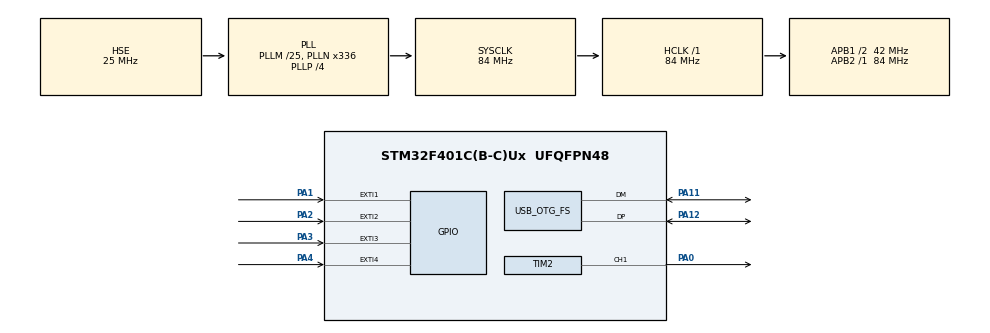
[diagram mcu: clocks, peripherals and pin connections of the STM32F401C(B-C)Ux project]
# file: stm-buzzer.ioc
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Mcu.Family=STM32F4
Mcu.Name=STM32F401C(B-C)Ux
Mcu.Package=UFQFPN48
NVIC.EXTI1_IRQn=true\:0\:0\:false\:false\:true\:true\:true\:true
NVIC.EXTI2_IRQn=true\:0\:0\:false\:false\:true\:true\:true\:true
NVIC.EXTI3_IRQn=true\:0\:0\:false\:false\:true\:true\:true\:true
NVIC.EXTI4_IRQn=true\:0\:0\:false\:false\:true\:true\:true\:true
NVIC.PriorityGroup=NVIC_PRIORITYGROUP_4
NVIC.TIM3_IRQn=true\:0\:0\:false\:false\:true\:true\:true\:true
PA0-WKUP.Signal=S_TIM2_CH1_ETR
PA1.GPIO_ModeDefaultEXTI=GPIO_MODE_IT_RISING_FALLING
PA1.GPIO_PuPd=GPIO_PULLUP
PA1.Signal=GPXTI1
PA11.Mode=Device_Only
PA11.Signal=USB_OTG_FS_DM
PA12.Mode=Device_Only
PA12.Signal=USB_OTG_FS_DP
PA2.GPIO_ModeDefaultEXTI=GPIO_MODE_IT_RISING_FALLING
PA2.GPIO_PuPd=GPIO_PULLUP
PA2.Signal=GPXTI2
PA3.GPIO_ModeDefaultEXTI=GPIO_MODE_IT_RISING_FALLING
PA3.GPIO_PuPd=GPIO_PULLUP
PA3.Signal=GPXTI3
PA4.GPIO_ModeDefaultEXTI=GPIO_MODE_IT_RISING_FALLING
PA4.GPIO_PuPd=GPIO_PULLUP
PA4.Signal=GPXTI4
PH0\ -\ OSC_IN.Mode=HSE-External-Oscillator
PH0\ -\ OSC_IN.Signal=RCC_OSC_IN
PH1\ -\ OSC_OUT.Mode=HSE-External-Oscillator
PH1\ -\ OSC_OUT.Signal=RCC_OSC_OUT
ProjectManager.HeapSize=0x200
ProjectManager.StackSize=0x400
ProjectManager.TargetToolchain=STM32CubeIDE
RCC.48MHZClocksFreq_Value=48000000
RCC.AHBFreq_Value=84000000
RCC.APB1CLKDivider=RCC_HCLK_DIV2
RCC.APB1Freq_Value=42000000
RCC.APB1TimFreq_Value=84000000
RCC.APB2Freq_Value=84000000
RCC.APB2TimFreq_Value=84000000
RCC.CortexFreq_Value=84000000
RCC.HCLKFreq_Value=84000000
RCC.HSE_VALUE=25000000
RCC.HSI_VALUE=16000000
RCC.LSE_VALUE=32768
RCC.PLLM=25
RCC.PLLN=336
RCC.PLLP=RCC_PLLP_DIV4
RCC.PLLQ=7
RCC.SYSCLKFreq_VALUE=84000000
RCC.SYSCLKSource=RCC_SYSCLKSOURCE_PLLCLK
RCC.VCOOutputFreq_Value=336000000
SH.S_TIM2_CH1_ETR.0=TIM2_CH1,PWM Generation1 CH1
TIM2.Channel-PWM\ Generation1\ CH1=TIM_CHANNEL_1
TIM2.OCFastMode_PWM-PWM\ Generation1\ CH1=TIM_OCFAST_ENABLE
TIM2.Period=255
TIM2.Prescaler=1
TIM3.Period=420-1
TIM3.Prescaler=4-1
USB_OTG_FS.VirtualMode=Device_Only
VP_TIM2_VS_ClockSourceINT.Mode=Internal
VP_TIM3_VS_ClockSourceINT.Mode=Internal
board=custom

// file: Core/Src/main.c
/* USER CODE BEGIN Header */

/**

 ******************************************************************************

 * @file           : main.c

 * @brief          : Main program body

 ******************************************************************************

 * @attention

 *

 * Copyright (c) 2026 STMicroelectronics.

 * All rights reserved.

 *

 * This software is licensed under terms that can be found in the LICENSE file

 * in the root directory of this software component.

 * If no LICENSE file comes with this software, it is provided AS-IS.

 *

 ******************************************************************************

 */

/* USER CODE END Header */
#include "main.h"

/* USER CODE BEGIN Includes */

#include <math.h>
#include <stdbool.h>
/* USER CODE END Includes */

/* USER CODE BEGIN PTD */

typedef struct {
	uint16_t frequencyHz;
	uint16_t divider;
} Note;

typedef enum {
	PLAYER_SOUND, PLAYER_GAP, PLAYER_REPEAT_PAUSE
} PlayerState;
/* USER CODE END PTD */

/* USER CODE BEGIN PD */

#define SINE_TABLE_SIZE       256U
#define SAMPLE_RATE_HZ        50000U
#define NOKIA_TEMPO_BPM       180U
#define NOTE_ON_PERCENT       90U
#define REPEAT_PAUSE_MS       1500U
/* USER CODE END PD */

/* USER CODE BEGIN PM */

#define NOTE_GS5   830U
#define NOTE_G5   784U
#define NOTE_F5   698U
#define NOTE_E5   659U
#define NOTE_D5   587U
#define NOTE_FS4  370U
#define NOTE_GS4  415U
#define NOTE_CS5  554U
#define NOTE_B4   494U
#define NOTE_D4   294U
#define NOTE_E4   330U
#define NOTE_A4   440U
#define NOTE_CS4  277U
/* USER CODE END PM */

TIM_HandleTypeDef htim2;
TIM_HandleTypeDef htim3;

PCD_HandleTypeDef hpcd_USB_OTG_FS;

/* USER CODE BEGIN PV */

static uint16_t sineTable[SINE_TABLE_SIZE];

static volatile uint32_t phaseAccumulator = 0U;
static volatile uint32_t phaseStep = 0U;
static volatile uint8_t toneEnabled = 0U;

// plays Nokia tune until it receives btn press
static volatile bool isStandardTune = true;

static PlayerState playerState = PLAYER_REPEAT_PAUSE;
static uint32_t currentNoteIndex = 0U;
static uint32_t stateStartedAtMs = 0U;
static uint32_t stateDurationMs = 0U;
static uint32_t currentGapDurationMs = 0U;

static const Note nokiaTune[] = { { NOTE_E5, 8U }, { NOTE_D5, 8U }, { NOTE_FS4,
		4U }, { NOTE_GS4, 4U },

{ NOTE_CS5, 8U }, { NOTE_B4, 8U }, { NOTE_D4, 4U }, { NOTE_E4, 4U },

{ NOTE_B4, 8U }, { NOTE_A4, 8U }, { NOTE_CS4, 4U }, { NOTE_E4, 4U },

{ NOTE_A4, 2U } };

static const uint32_t nokiaTuneLength = sizeof(nokiaTune)
		/ sizeof(nokiaTune[0]);
/* USER CODE END PV */

void SystemClock_Config(void);
static void MX_GPIO_Init(void);
static void MX_TIM2_Init(void);
static void MX_TIM3_Init(void);
static void MX_USB_OTG_FS_PCD_Init(void);
/* USER CODE BEGIN PFP */

static void SineTable_Init(void);
static void Tone_SetFrequency(uint16_t frequencyHz);
static void Tone_Stop(void);
static void NokiaPlayer_Start(void);
static void NokiaPlayer_StartCurrentNote(uint32_t nowMs);
static void NokiaPlayer_Update(void);
/* USER CODE END PFP */

/* USER CODE BEGIN 0 */

static void SineTable_Init(void) {
	const float twoPi = 6.28318530718f;

	for (uint32_t index = 0U; index < SINE_TABLE_SIZE; index++) {
		float angle = twoPi * (float) index / (float) SINE_TABLE_SIZE;
		float sample = 127.5f + 127.5f * sinf(angle);

		sineTable[index] = (uint16_t) sample;
	}
}

static void Tone_SetFrequency(uint16_t frequencyHz) {
	phaseStep = (uint32_t) (((uint64_t) frequencyHz << 32) / SAMPLE_RATE_HZ);

	toneEnabled = 1U;
}

static void Tone_Stop(void) {
	toneEnabled = 0U;
	phaseStep = 0U;

	__HAL_TIM_SET_COMPARE(&htim2, TIM_CHANNEL_1, 0U);
}

static void NokiaPlayer_StartCurrentNote(uint32_t nowMs) {
	const uint32_t wholeNoteMs = (60000U * 4U) / NOKIA_TEMPO_BPM;

	uint32_t noteDurationMs = wholeNoteMs / nokiaTune[currentNoteIndex].divider;

	uint32_t soundDurationMs = (noteDurationMs * NOTE_ON_PERCENT) / 100U;

	currentGapDurationMs = noteDurationMs - soundDurationMs;

	Tone_SetFrequency(nokiaTune[currentNoteIndex].frequencyHz);

	playerState = PLAYER_SOUND;
	stateStartedAtMs = nowMs;
	stateDurationMs = soundDurationMs;
}

static void NokiaPlayer_Start(void) {
	currentNoteIndex = 0U;
	NokiaPlayer_StartCurrentNote(HAL_GetTick());
}

static void NokiaPlayer_Update(void) {
	uint32_t nowMs = HAL_GetTick();

	if ((uint32_t) (nowMs - stateStartedAtMs) < stateDurationMs) {
		return;
	}

	switch (playerState) {
	case PLAYER_SOUND:
		Tone_Stop();
		playerState = PLAYER_GAP;
		stateStartedAtMs = nowMs;
		stateDurationMs = currentGapDurationMs;
		break;

	case PLAYER_GAP:
		currentNoteIndex++;

		if (currentNoteIndex < nokiaTuneLength) {
			NokiaPlayer_StartCurrentNote(nowMs);
		} else {
			Tone_Stop();
			playerState = PLAYER_REPEAT_PAUSE;
			stateStartedAtMs = nowMs;
			stateDurationMs = REPEAT_PAUSE_MS;
		}
		break;

	case PLAYER_REPEAT_PAUSE:
	default:
		currentNoteIndex = 0U;
		NokiaPlayer_StartCurrentNote(nowMs);
		break;
	}
}
/* USER CODE END 0 */

int main(void) {

	/* MCU Configuration--------------------------------------------------------*/

	/* Reset of all peripherals, Initializes the Flash interface and the Systick. */
	HAL_Init();

	/* Configure the system clock */
	SystemClock_Config();

	/* Initialize all configured peripherals */
	MX_GPIO_Init();
	MX_TIM2_Init();
	MX_TIM3_Init();
	MX_USB_OTG_FS_PCD_Init();
	/* USER CODE BEGIN 2 */

	SineTable_Init();

	HAL_TIM_PWM_Start(&htim2, TIM_CHANNEL_1);
	HAL_TIM_Base_Start_IT(&htim3);

	Tone_Stop();
	NokiaPlayer_Start();
	/* USER CODE END 2 */

	/* Infinite loop */
	/* USER CODE BEGIN WHILE */

	while (1) {
		if (isStandardTune) {
			NokiaPlayer_Update();
		}

		/* Other non-blocking application work can run here. */
		/* USER CODE END WHILE */

	}
}

void SystemClock_Config(void) {
	RCC_OscInitTypeDef RCC_OscInitStruct = { 0 };
	RCC_ClkInitTypeDef RCC_ClkInitStruct = { 0 };

	/** Configure the main internal regulator output voltage
	 */
	__HAL_RCC_PWR_CLK_ENABLE();
	__HAL_PWR_VOLTAGESCALING_CONFIG(PWR_REGULATOR_VOLTAGE_SCALE2);

	/** Initializes the RCC Oscillators according to the specified parameters
	 * in the RCC_OscInitTypeDef structure.
	 */
	RCC_OscInitStruct.OscillatorType = RCC_OSCILLATORTYPE_HSE;
	RCC_OscInitStruct.HSEState = RCC_HSE_ON;
	RCC_OscInitStruct.PLL.PLLState = RCC_PLL_ON;
	RCC_OscInitStruct.PLL.PLLSource = RCC_PLLSOURCE_HSE;
	RCC_OscInitStruct.PLL.PLLM = 25;
	RCC_OscInitStruct.PLL.PLLN = 336;
	RCC_OscInitStruct.PLL.PLLP = RCC_PLLP_DIV4;
	RCC_OscInitStruct.PLL.PLLQ = 7;
	if (HAL_RCC_OscConfig(&RCC_OscInitStruct) != HAL_OK) {
		Error_Handler();
	}

	/** Initializes the CPU, AHB and APB buses clocks
	 */
	RCC_ClkInitStruct.ClockType = RCC_CLOCKTYPE_HCLK | RCC_CLOCKTYPE_SYSCLK
			| RCC_CLOCKTYPE_PCLK1 | RCC_CLOCKTYPE_PCLK2;
	RCC_ClkInitStruct.SYSCLKSource = RCC_SYSCLKSOURCE_PLLCLK;
	RCC_ClkInitStruct.AHBCLKDivider = RCC_SYSCLK_DIV1;
	RCC_ClkInitStruct.APB1CLKDivider = RCC_HCLK_DIV2;
	RCC_ClkInitStruct.APB2CLKDivider = RCC_HCLK_DIV1;

	if (HAL_RCC_ClockConfig(&RCC_ClkInitStruct, FLASH_LATENCY_2) != HAL_OK) {
		Error_Handler();
	}
}

static void MX_TIM2_Init(void) {

	TIM_ClockConfigTypeDef sClockSourceConfig = { 0 };
	TIM_MasterConfigTypeDef sMasterConfig = { 0 };
	TIM_OC_InitTypeDef sConfigOC = { 0 };

	htim2.Instance = TIM2;
	htim2.Init.Prescaler = 1;
	htim2.Init.CounterMode = TIM_COUNTERMODE_UP;
	htim2.Init.Period = 255;
	htim2.Init.ClockDivision = TIM_CLOCKDIVISION_DIV1;
	htim2.Init.AutoReloadPreload = TIM_AUTORELOAD_PRELOAD_DISABLE;
	if (HAL_TIM_Base_Init(&htim2) != HAL_OK) {
		Error_Handler();
	}
	sClockSourceConfig.ClockSource = TIM_CLOCKSOURCE_INTERNAL;
	if (HAL_TIM_ConfigClockSource(&htim2, &sClockSourceConfig) != HAL_OK) {
		Error_Handler();
	}
	if (HAL_TIM_PWM_Init(&htim2) != HAL_OK) {
		Error_Handler();
	}
	sMasterConfig.MasterOutputTrigger = TIM_TRGO_RESET;
	sMasterConfig.MasterSlaveMode = TIM_MASTERSLAVEMODE_DISABLE;
	if (HAL_TIMEx_MasterConfigSynchronization(&htim2, &sMasterConfig)
			!= HAL_OK) {
		Error_Handler();
	}
	sConfigOC.OCMode = TIM_OCMODE_PWM1;
	sConfigOC.Pulse = 0;
	sConfigOC.OCPolarity = TIM_OCPOLARITY_HIGH;
	sConfigOC.OCFastMode = TIM_OCFAST_ENABLE;
	if (HAL_TIM_PWM_ConfigChannel(&htim2, &sConfigOC, TIM_CHANNEL_1)
			!= HAL_OK) {
		Error_Handler();
	}
	HAL_TIM_MspPostInit(&htim2);

}

static void MX_TIM3_Init(void) {

	TIM_ClockConfigTypeDef sClockSourceConfig = { 0 };
	TIM_MasterConfigTypeDef sMasterConfig = { 0 };

	htim3.Instance = TIM3;
	htim3.Init.Prescaler = 4 - 1;
	htim3.Init.CounterMode = TIM_COUNTERMODE_UP;
	htim3.Init.Period = 420 - 1;
	htim3.Init.ClockDivision = TIM_CLOCKDIVISION_DIV1;
	htim3.Init.AutoReloadPreload = TIM_AUTORELOAD_PRELOAD_DISABLE;
	if (HAL_TIM_Base_Init(&htim3) != HAL_OK) {
		Error_Handler();
	}
	sClockSourceConfig.ClockSource = TIM_CLOCKSOURCE_INTERNAL;
	if (HAL_TIM_ConfigClockSource(&htim3, &sClockSourceConfig) != HAL_OK) {
		Error_Handler();
	}
	sMasterConfig.MasterOutputTrigger = TIM_TRGO_RESET;
	sMasterConfig.MasterSlaveMode = TIM_MASTERSLAVEMODE_DISABLE;
	if (HAL_TIMEx_MasterConfigSynchronization(&htim3, &sMasterConfig)
			!= HAL_OK) {
		Error_Handler();
	}

}

static void MX_USB_OTG_FS_PCD_Init(void) {

	hpcd_USB_OTG_FS.Instance = USB_OTG_FS;
	hpcd_USB_OTG_FS.Init.dev_endpoints = 4;
	hpcd_USB_OTG_FS.Init.speed = PCD_SPEED_FULL;
	hpcd_USB_OTG_FS.Init.dma_enable = DISABLE;
	hpcd_USB_OTG_FS.Init.phy_itface = PCD_PHY_EMBEDDED;
	hpcd_USB_OTG_FS.Init.Sof_enable = DISABLE;
	hpcd_USB_OTG_FS.Init.low_power_enable = DISABLE;
	hpcd_USB_OTG_FS.Init.lpm_enable = DISABLE;
	hpcd_USB_OTG_FS.Init.vbus_sensing_enable = DISABLE;
	hpcd_USB_OTG_FS.Init.use_dedicated_ep1 = DISABLE;
	if (HAL_PCD_Init(&hpcd_USB_OTG_FS) != HAL_OK) {
		Error_Handler();
	}

}

static void MX_GPIO_Init(void) {
	GPIO_InitTypeDef GPIO_InitStruct = { 0 };

	/* GPIO Ports Clock Enable */
	__HAL_RCC_GPIOH_CLK_ENABLE();
	__HAL_RCC_GPIOA_CLK_ENABLE();

	/*Configure GPIO pins : PA1 PA2 PA3 PA4 */
	GPIO_InitStruct.Pin = GPIO_PIN_1 | GPIO_PIN_2 | GPIO_PIN_3 | GPIO_PIN_4;
	GPIO_InitStruct.Mode = GPIO_MODE_IT_RISING_FALLING;
	GPIO_InitStruct.Pull = GPIO_PULLUP;
	HAL_GPIO_Init(GPIOA, &GPIO_InitStruct);

	/* EXTI interrupt init*/
	HAL_NVIC_SetPriority(EXTI1_IRQn, 0, 0);
	HAL_NVIC_EnableIRQ(EXTI1_IRQn);

	HAL_NVIC_SetPriority(EXTI2_IRQn, 0, 0);
	HAL_NVIC_EnableIRQ(EXTI2_IRQn);

	HAL_NVIC_SetPriority(EXTI3_IRQn, 0, 0);
	HAL_NVIC_EnableIRQ(EXTI3_IRQn);

	HAL_NVIC_SetPriority(EXTI4_IRQn, 0, 0);
	HAL_NVIC_EnableIRQ(EXTI4_IRQn);

}

/* USER CODE BEGIN 4 */

void HAL_GPIO_EXTI_Callback(uint16_t GPIO_Pin) {
    // we are reacting to some event. To avoid confusion,
    // we stop playing any note, and if any button is really pressed -
    // we start playing its note
	Tone_Stop();
	isStandardTune = false;
	if (GPIO_Pin == GPIO_PIN_1 && HAL_GPIO_ReadPin(GPIOA, GPIO_PIN_1) == GPIO_PIN_RESET) {
		Tone_SetFrequency(NOTE_D5);
	} else if (GPIO_Pin == GPIO_PIN_2 && HAL_GPIO_ReadPin(GPIOA, GPIO_PIN_2) == GPIO_PIN_RESET) {
		Tone_SetFrequency(NOTE_F5);
	} else if (GPIO_Pin == GPIO_PIN_3 && HAL_GPIO_ReadPin(GPIOA, GPIO_PIN_3) == GPIO_PIN_RESET) {
		Tone_SetFrequency(NOTE_G5);
	} else if (GPIO_Pin == GPIO_PIN_4 && HAL_GPIO_ReadPin(GPIOA, GPIO_PIN_4) == GPIO_PIN_RESET) {
		Tone_SetFrequency(NOTE_GS5);
	}
}

void HAL_TIM_PeriodElapsedCallback(TIM_HandleTypeDef *htim) {
	if (htim->Instance == TIM3) {
		if (toneEnabled != 0U) {
			phaseAccumulator += phaseStep;

			uint8_t tableIndex = (uint8_t) (phaseAccumulator >> 24);

			__HAL_TIM_SET_COMPARE(&htim2, TIM_CHANNEL_1, sineTable[tableIndex]);
		} else {
			__HAL_TIM_SET_COMPARE(&htim2, TIM_CHANNEL_1, 0U);
		}
	}
}
/* USER CODE END 4 */

void Error_Handler(void) {
	__disable_irq();
	while (1)
	{
	}
}
